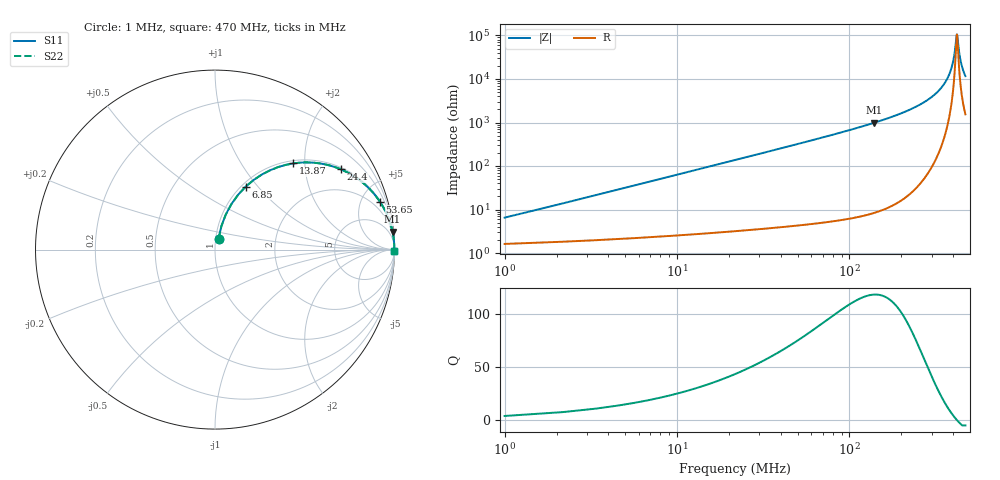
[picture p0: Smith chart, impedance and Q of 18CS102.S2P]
! Coilcraft 1812CS-102 Chip Inductor
! 31 July 2002
# MHZ S MA R 50
!Freq  MagS11  AngS11  MagS21  AngS21  MagS12  AngS12  MagS22  AngS22
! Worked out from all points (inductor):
!   402 points, 1 MHz to 470 MHz, reference 50 ohm
!   read as one part in series: L = 1 uH near 3.34 MHz
!   highest Q = 118 at 139.1 MHz (marker M1), where L = 1.13 uH
!   self-resonance near 419.9 MHz
!   S11 on the Smith chart (normalised r, x): 1 MHz: 1.03, +0.13; 6.85 MHz: 1.05, +0.87; 13.87 MHz: 1.06, +1.75; 24.4 MHz: 1.07, +3.09; 53.65 MHz: 1.09, +6.89; 470 MHz: open
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1  0.06403 72.0  0.9821 -3.6  0.9821 -3.6  0.06403 72.0
4.51  0.2694 70.2  0.9434 -15.6  0.9434 -15.6  0.2694 70.2
6.85  0.3901 64.0  0.9002 -22.9  0.9002 -22.9  0.3901 64.0
13.87  0.6493 47.7  0.7402 -40.5  0.7402 -40.5  0.6493 47.7
24.4  0.8316 32.5  0.5378 -56.2  0.5378 -56.2  0.8316 32.5
36.1  0.9114 23.4  0.3968 -65.7  0.3968 -65.7  0.9114 23.4
53.65  0.9571 16.1  0.2779 -73.1  0.2779 -73.1  0.9571 16.1
79.39  0.9801 10.9  0.1885 -78.5  0.1885 -78.5  0.9801 10.9
139.06  0.9941 5.8  0.1008 -83.7  0.1008 -83.7  0.9941 5.8
157.78  0.9956 4.9  0.08581 -84.6  0.08581 -84.6  0.9956 4.9
236.17  0.9984 2.6  0.04577 -86.7  0.04577 -86.7  0.9984 2.6
314.56  0.9991 1.3  0.02208 -87.0  0.02208 -87.0  0.9991 1.3
362.53  0.9992 0.6  0.01114 -85.4  0.01114 -85.4  0.9992 0.6
392.95  0.9991 0.3  0.005078 -80.0  0.005078 -80.0  0.9991 0.3
404.65  0.9991 0.2  0.002932 -72.0  0.002932 -72.0  0.9991 0.2
416.35  0.9991 0.0  0.001135 -34.5  0.001135 -34.5  0.9991 0.0
419.86  0.9991 0.0  0.0009475 -0.7  0.0009475 -0.7  0.9991 0.0
423.37  0.999 -0.0  0.00114 32.6  0.00114 32.6  0.999 -0.0
432.73  0.999 -0.1  0.002471 66.2  0.002471 66.2  0.999 -0.1
440.92  0.999 -0.2  0.003815 74.2  0.003815 74.2  0.999 -0.2
453.79  0.9989 -0.3  0.005944 79.3  0.005944 79.3  0.9989 -0.3
470  0.9988 -0.5  0.008576 81.9  0.008576 81.9  0.9988 -0.5
